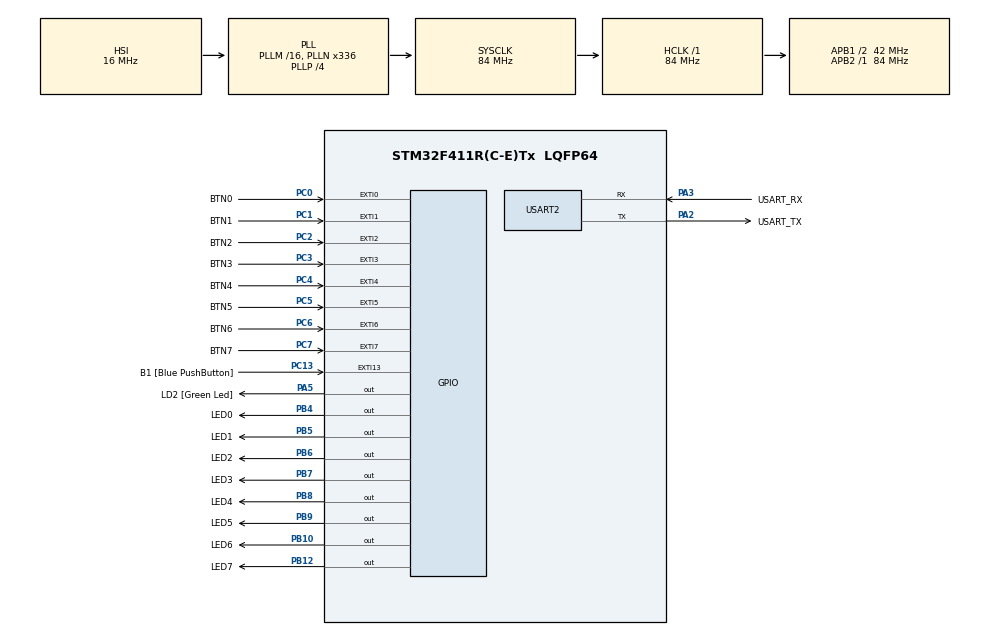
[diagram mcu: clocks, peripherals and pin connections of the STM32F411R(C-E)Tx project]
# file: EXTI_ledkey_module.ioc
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Mcu.Family=STM32F4
Mcu.Name=STM32F411R(C-E)Tx
Mcu.Package=LQFP64
NVIC.EXTI0_IRQn=true\:0\:0\:false\:false\:true\:true\:true\:true
NVIC.EXTI15_10_IRQn=true\:0\:0\:false\:false\:true\:true\:true\:true
NVIC.EXTI1_IRQn=true\:0\:0\:false\:false\:true\:true\:true\:true
NVIC.EXTI2_IRQn=true\:0\:0\:false\:false\:true\:true\:true\:true
NVIC.EXTI3_IRQn=true\:0\:0\:false\:false\:true\:true\:true\:true
NVIC.EXTI4_IRQn=true\:0\:0\:false\:false\:true\:true\:true\:true
NVIC.EXTI9_5_IRQn=true\:0\:0\:false\:false\:true\:true\:true\:true
NVIC.PriorityGroup=NVIC_PRIORITYGROUP_0
PA13.GPIO_Label=TMS
PA13.Mode=Serial_Wire
PA13.Signal=SYS_JTMS-SWDIO
PA14.GPIO_Label=TCK
PA14.Mode=Serial_Wire
PA14.Signal=SYS_JTCK-SWCLK
PA2.GPIO_Label=USART_TX
PA2.Mode=Asynchronous
PA2.Signal=USART2_TX
PA3.GPIO_Label=USART_RX
PA3.Mode=Asynchronous
PA3.Signal=USART2_RX
PA5.GPIO_Label=LD2 [Green Led]
PA5.Signal=GPIO_Output
PB10.GPIO_Label=LED6
PB10.Signal=GPIO_Output
PB12.GPIO_Label=LED7
PB12.Signal=GPIO_Output
PB3.GPIO_Label=SWO
PB3.Signal=SYS_JTDO-SWO
PB4.GPIO_Label=LED0
PB4.Signal=GPIO_Output
PB5.GPIO_Label=LED1
PB5.Signal=GPIO_Output
PB6.GPIO_Label=LED2
PB6.Signal=GPIO_Output
PB7.GPIO_Label=LED3
PB7.Signal=GPIO_Output
PB8.GPIO_Label=LED4
PB8.Signal=GPIO_Output
PB9.GPIO_Label=LED5
PB9.Signal=GPIO_Output
PC0.GPIO_Label=BTN0
PC0.Signal=GPXTI0
PC1.GPIO_Label=BTN1
PC1.Signal=GPXTI1
PC13-ANTI_TAMP.GPIO_Label=B1 [Blue PushButton]
PC13-ANTI_TAMP.GPIO_ModeDefaultEXTI=GPIO_MODE_IT_FALLING
PC13-ANTI_TAMP.Signal=GPXTI13
PC14-OSC32_IN.Signal=RCC_OSC32_IN
PC15-OSC32_OUT.Signal=RCC_OSC32_OUT
PC2.GPIO_Label=BTN2
PC2.Signal=GPXTI2
PC3.GPIO_Label=BTN3
PC3.Signal=GPXTI3
PC4.GPIO_Label=BTN4
PC4.Signal=GPXTI4
PC5.GPIO_Label=BTN5
PC5.Signal=GPXTI5
PC6.GPIO_Label=BTN6
PC6.Signal=GPXTI6
PC7.GPIO_Label=BTN7
PC7.Signal=GPXTI7
PH0\ -\ OSC_IN.Signal=RCC_OSC_IN
PH1\ -\ OSC_OUT.Signal=RCC_OSC_OUT
ProjectManager.HeapSize=0x200
ProjectManager.StackSize=0x400
ProjectManager.TargetToolchain=STM32CubeIDE
RCC.48MHZClocksFreq_Value=84000000
RCC.AHBFreq_Value=84000000
RCC.APB1CLKDivider=RCC_HCLK_DIV2
RCC.APB1Freq_Value=42000000
RCC.APB1TimFreq_Value=84000000
RCC.APB2Freq_Value=84000000
RCC.APB2TimFreq_Value=84000000
RCC.CortexFreq_Value=84000000
RCC.FLatency-AdvancedSettings=FLASH_LATENCY_2
RCC.HCLKFreq_Value=84000000
RCC.HSE_VALUE=8000000
RCC.HSI_VALUE=16000000
RCC.PLLN=336
RCC.PLLP=RCC_PLLP_DIV4
RCC.SYSCLKFreq_VALUE=84000000
RCC.SYSCLKSource=RCC_SYSCLKSOURCE_PLLCLK
RCC.VCOOutputFreq_Value=336000000
USART2.VirtualMode=VM_ASYNC
board=NUCLEO-F411RE

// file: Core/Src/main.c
/* USER CODE BEGIN Header */
/**
  ******************************************************************************
  * @file           : main.c
  * @brief          : Main program body
  ******************************************************************************
  * @attention
  *
  * Copyright (c) 2025 STMicroelectronics.
  * All rights reserved.
  *
  * This software is licensed under terms that can be found in the LICENSE file
  * in the root directory of this software component.
  * If no LICENSE file comes with this software, it is provided AS-IS.
  *
  ******************************************************************************
  */
/* USER CODE END Header */
#include "main.h"

/* USER CODE BEGIN Includes */
#include <stdio.h>
/* USER CODE END Includes */

/* USER CODE BEGIN PD */
#ifdef __GNUC__
/* With GCC, small printf (option LD Linker->Libraries->Small printf
   set to 'Yes') calls __io_putchar() */
#define PUTCHAR_PROTOTYPE int __io_putchar(int ch)
#else
#define PUTCHAR_PROTOTYPE int fputc(int ch, FILE *f)
#endif /* __GNUC__ */

/* USER CODE END PD */

UART_HandleTypeDef huart2;

/* USER CODE BEGIN PV */
volatile int keyNo;
/* USER CODE END PV */

void SystemClock_Config(void);
static void MX_GPIO_Init(void);
static void MX_USART2_UART_Init(void);
/* USER CODE BEGIN PFP */
HAL_GPIO_EXTI_BTN5_Callback(GPIO_Pin);
HAL_GPIO_EXTI_BTN6_Callback(GPIO_Pin);
HAL_GPIO_EXTI_BTN7_Callback(GPIO_Pin);
/* USER CODE END PFP */

int main(void)
{

  /* MCU Configuration--------------------------------------------------------*/

  /* Reset of all peripherals, Initializes the Flash interface and the Systick. */
  HAL_Init();

  /* Configure the system clock */
  SystemClock_Config();

  /* Initialize all configured peripherals */
  MX_GPIO_Init();
  MX_USART2_UART_Init();
  /* USER CODE BEGIN 2 */
  printf("main start!!\r\n");
  /* USER CODE END 2 */

  /* Infinite loop */
  /* USER CODE BEGIN WHILE */
  while (1)
  {
	  if(keyNo != 0)
	  {
		  printf("keyNo : %d\r\n",keyNo);

		  if (keyNo == 8)  //PB12 Pin
			  HAL_GPIO_TogglePin(LED_GPIO_Port, 0x10<<keyNo);
		  else
			  HAL_GPIO_TogglePin(LED_GPIO_Port, 0x10<<(keyNo-1));

		  keyNo = 0;

/*
		  for (int i = 0; i<9; i++)
		  {
			  if(keyNo == i)
			  {
				  HAL_GPIO_TogglePin(LED_GPIO_Port, LED0_Pin<<i);
			  }
		  }

		  if(keyNo == 0)
		  {
			  HAL_GPIO_TogglePin(LED0_GPIO_Port, GPIO_PIN_4<<0);
		  }
*/
	  }

    /* USER CODE END WHILE */

  }
}

void SystemClock_Config(void)
{
  RCC_OscInitTypeDef RCC_OscInitStruct = {0};
  RCC_ClkInitTypeDef RCC_ClkInitStruct = {0};

  /** Configure the main internal regulator output voltage
  */
  __HAL_RCC_PWR_CLK_ENABLE();
  __HAL_PWR_VOLTAGESCALING_CONFIG(PWR_REGULATOR_VOLTAGE_SCALE1);

  /** Initializes the RCC Oscillators according to the specified parameters
  * in the RCC_OscInitTypeDef structure.
  */
  RCC_OscInitStruct.OscillatorType = RCC_OSCILLATORTYPE_HSI;
  RCC_OscInitStruct.HSIState = RCC_HSI_ON;
  RCC_OscInitStruct.HSICalibrationValue = RCC_HSICALIBRATION_DEFAULT;
  RCC_OscInitStruct.PLL.PLLState = RCC_PLL_ON;
  RCC_OscInitStruct.PLL.PLLSource = RCC_PLLSOURCE_HSI;
  RCC_OscInitStruct.PLL.PLLM = 16;
  RCC_OscInitStruct.PLL.PLLN = 336;
  RCC_OscInitStruct.PLL.PLLP = RCC_PLLP_DIV4;
  RCC_OscInitStruct.PLL.PLLQ = 4;
  if (HAL_RCC_OscConfig(&RCC_OscInitStruct) != HAL_OK)
  {
    Error_Handler();
  }

  /** Initializes the CPU, AHB and APB buses clocks
  */
  RCC_ClkInitStruct.ClockType = RCC_CLOCKTYPE_HCLK|RCC_CLOCKTYPE_SYSCLK
                              |RCC_CLOCKTYPE_PCLK1|RCC_CLOCKTYPE_PCLK2;
  RCC_ClkInitStruct.SYSCLKSource = RCC_SYSCLKSOURCE_PLLCLK;
  RCC_ClkInitStruct.AHBCLKDivider = RCC_SYSCLK_DIV1;
  RCC_ClkInitStruct.APB1CLKDivider = RCC_HCLK_DIV2;
  RCC_ClkInitStruct.APB2CLKDivider = RCC_HCLK_DIV1;

  if (HAL_RCC_ClockConfig(&RCC_ClkInitStruct, FLASH_LATENCY_2) != HAL_OK)
  {
    Error_Handler();
  }
}

static void MX_USART2_UART_Init(void)
{

  huart2.Instance = USART2;
  huart2.Init.BaudRate = 115200;
  huart2.Init.WordLength = UART_WORDLENGTH_8B;
  huart2.Init.StopBits = UART_STOPBITS_1;
  huart2.Init.Parity = UART_PARITY_NONE;
  huart2.Init.Mode = UART_MODE_TX_RX;
  huart2.Init.HwFlowCtl = UART_HWCONTROL_NONE;
  huart2.Init.OverSampling = UART_OVERSAMPLING_16;
  if (HAL_UART_Init(&huart2) != HAL_OK)
  {
    Error_Handler();
  }

}

static void MX_GPIO_Init(void)
{
  GPIO_InitTypeDef GPIO_InitStruct = {0};

  /* GPIO Ports Clock Enable */
  __HAL_RCC_GPIOC_CLK_ENABLE();
  __HAL_RCC_GPIOH_CLK_ENABLE();
  __HAL_RCC_GPIOA_CLK_ENABLE();
  __HAL_RCC_GPIOB_CLK_ENABLE();

  /*Configure GPIO pin Output Level */
  HAL_GPIO_WritePin(LD2_GPIO_Port, LD2_Pin, GPIO_PIN_RESET);

  /*Configure GPIO pin Output Level */
  HAL_GPIO_WritePin(GPIOB, LED6_Pin|LED7_Pin|LED0_Pin|LED1_Pin
                          |LED2_Pin|LED3_Pin|LED4_Pin|LED5_Pin, GPIO_PIN_RESET);

  /*Configure GPIO pin : B1_Pin */
  GPIO_InitStruct.Pin = B1_Pin;
  GPIO_InitStruct.Mode = GPIO_MODE_IT_FALLING;
  GPIO_InitStruct.Pull = GPIO_NOPULL;
  HAL_GPIO_Init(B1_GPIO_Port, &GPIO_InitStruct);

  /*Configure GPIO pins : BTN0_Pin BTN1_Pin BTN2_Pin BTN3_Pin
                           BTN4_Pin BTN5_Pin BTN6_Pin BTN7_Pin */
  GPIO_InitStruct.Pin = BTN0_Pin|BTN1_Pin|BTN2_Pin|BTN3_Pin
                          |BTN4_Pin|BTN5_Pin|BTN6_Pin|BTN7_Pin;
  GPIO_InitStruct.Mode = GPIO_MODE_IT_RISING;
  GPIO_InitStruct.Pull = GPIO_NOPULL;
  HAL_GPIO_Init(GPIOC, &GPIO_InitStruct);

  /*Configure GPIO pin : LD2_Pin */
  GPIO_InitStruct.Pin = LD2_Pin;
  GPIO_InitStruct.Mode = GPIO_MODE_OUTPUT_PP;
  GPIO_InitStruct.Pull = GPIO_NOPULL;
  GPIO_InitStruct.Speed = GPIO_SPEED_FREQ_LOW;
  HAL_GPIO_Init(LD2_GPIO_Port, &GPIO_InitStruct);

  /*Configure GPIO pins : LED6_Pin LED7_Pin LED0_Pin LED1_Pin
                           LED2_Pin LED3_Pin LED4_Pin LED5_Pin */
  GPIO_InitStruct.Pin = LED6_Pin|LED7_Pin|LED0_Pin|LED1_Pin
                          |LED2_Pin|LED3_Pin|LED4_Pin|LED5_Pin;
  GPIO_InitStruct.Mode = GPIO_MODE_OUTPUT_PP;
  GPIO_InitStruct.Pull = GPIO_NOPULL;
  GPIO_InitStruct.Speed = GPIO_SPEED_FREQ_LOW;
  HAL_GPIO_Init(GPIOB, &GPIO_InitStruct);

  /* EXTI interrupt init*/
  HAL_NVIC_SetPriority(EXTI0_IRQn, 0, 0);
  HAL_NVIC_EnableIRQ(EXTI0_IRQn);

  HAL_NVIC_SetPriority(EXTI1_IRQn, 0, 0);
  HAL_NVIC_EnableIRQ(EXTI1_IRQn);

  HAL_NVIC_SetPriority(EXTI2_IRQn, 0, 0);
  HAL_NVIC_EnableIRQ(EXTI2_IRQn);

  HAL_NVIC_SetPriority(EXTI3_IRQn, 0, 0);
  HAL_NVIC_EnableIRQ(EXTI3_IRQn);

  HAL_NVIC_SetPriority(EXTI4_IRQn, 0, 0);
  HAL_NVIC_EnableIRQ(EXTI4_IRQn);

  HAL_NVIC_SetPriority(EXTI9_5_IRQn, 0, 0);
  HAL_NVIC_EnableIRQ(EXTI9_5_IRQn);

  HAL_NVIC_SetPriority(EXTI15_10_IRQn, 0, 0);
  HAL_NVIC_EnableIRQ(EXTI15_10_IRQn);

}

/* USER CODE BEGIN 4 */
/**
  * @brief  Retargets the C library printf function to the USART.
  * @param  None
  * @retval None
  */
PUTCHAR_PROTOTYPE
{
  /* Place your implementation of fputc here */
  /* e.g. write a character to the USART6 and Loop until the end of transmission */
  HAL_UART_Transmit(&huart2, (uint8_t *)&ch, 1, 0xFFFF);

  return ch;
}
void HAL_GPIO_EXTI_BTN0_Callback(uint16_t GPIO_PIN)
{
	keyNo = 1;
}
void HAL_GPIO_EXTI_BTN1_Callback(uint16_t GPIO_PIN)
{
	keyNo = 2;
}
void HAL_GPIO_EXTI_BTN2_Callback(uint16_t GPIO_PIN)
{
	keyNo = 3;
}
void HAL_GPIO_EXTI_BTN3_Callback(uint16_t GPIO_PIN)
{
	keyNo = 4;
}
void HAL_GPIO_EXTI_BTN4_Callback(uint16_t GPIO_PIN)
{
	keyNo = 5;
}
void HAL_GPIO_EXTI_BTN5_Callback(uint16_t GPIO_PIN)
{
	keyNo = 6;
}
void HAL_GPIO_EXTI_BTN6_Callback(uint16_t GPIO_PIN)
{
	keyNo = 7;
}
void HAL_GPIO_EXTI_BTN7_Callback(uint16_t GPIO_PIN)
{
	keyNo = 8;
}

void HAL_GPIO_EXTI_Callback(uint16_t GPIO_PIN)
{
	switch(GPIO_PIN)
	{
		case BTN5_Pin :
			HAL_GPIO_EXTI_BTN5_Callback(GPIO_PIN);
			break;
		case BTN6_Pin :
			HAL_GPIO_EXTI_BTN6_Callback(GPIO_PIN);
			break;
		case BTN7_Pin :
			HAL_GPIO_EXTI_BTN7_Callback(GPIO_PIN);
			break;
	}
}
/*
void HAL_GPIO_EXTI_Callback(uint16_t GPIO_PIN)
{
	switch(GPIO_PIN)
	{
		case BTN0_Pin :
			keyNo = 1;
			break;
		case BTN1_Pin :
			keyNo = 2;
			break;
		case BTN2_Pin :
			keyNo = 3;
			break;
		case BTN3_Pin :
			keyNo = 4;
			break;
		case BTN4_Pin :
			keyNo = 5;
			break;
		case BTN5_Pin :
			keyNo = 6;
			break;
		case BTN6_Pin :
			keyNo = 7;
			break;
		case BTN7_Pin :
			keyNo = 8;
			break;
		case B1_Pin :
			keyNo = 9;
			break;
	}
}
*/

/* USER CODE END 4 */

void Error_Handler(void)
{
  __disable_irq();
  while (1)
  {
  }
}
